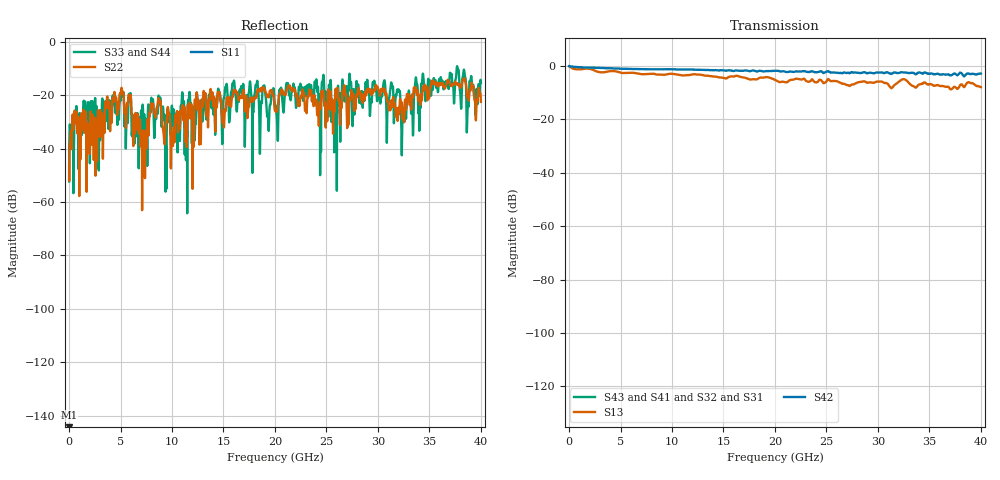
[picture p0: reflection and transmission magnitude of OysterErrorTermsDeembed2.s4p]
! File created by SignalIntegrity v1.1.1: Signal and Power Integrity Tools
! https://github.com/TeledyneLeCroy/SignalIntegrity
# MHz MA S R 50.0
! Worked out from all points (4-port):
!   8000 points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, 5 MHz to 40 GHz, reference 50 ohm
!   strongest paths, dB at 5 MHz, 10.01 GHz, 20 GHz, 30 GHz, 40 GHz:
!     S42: -0.1, -1.2, -1.8, -2.5, -2.9
!     S13: -0.1, -2.9, -5.2, -5.8, -7.9
!     S43: -, -, -, -, -
!     S41: -, -, -, -, -
!     S32: -, -, -, -, -
!     S31: -, -, -, -, -
!   lowest |S11| = - dB at 5 MHz (marker M1), VSWR 1.00, Z = 50 + j0 ohm
!   |S11| at or under -10 dB: start of sweep to end of sweep
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5  0 0.0  0 0.0  0.9866 -8.6  0 0.0
   0 0.0  0.004879 12.2  0 0.0  0.9902 -8.4
   0 0.0  0 0.0  0.002422 137.5  0 0.0
   0 0.0  0.9936 -5.4  0 0.0  0.002753 94.5
5095  0 0.0  0 0.0  0.7437 -151.6  0 0.0
      0 0.0  0.1373 10.9  0 0.0  0.7437 -151.6
      0 0.0  0 0.0  0.1281 -57.2  0 0.0
      0 0.0  0.8851 -89.8  0 0.0  0.1281 -57.2
7235  0 0.0  0 0.0  0.7027 -87.5  0 0.0
      0 0.0  0.01396 55.0  0 0.0  0.7027 -87.5
      0 0.0  0 0.0  0.0183 -2.5  0 0.0
      0 0.0  0.8756 126.4  0 0.0  0.0183 -2.5
8735  0 0.0  0 0.0  0.6895 -46.9  0 0.0
      0 0.0  0.07988 78.1  0 0.0  0.6895 -46.9
      0 0.0  0 0.0  0.08418 28.1  0 0.0
      0 0.0  0.864 -48.4  0 0.0  0.08418 28.1
10050  0 0.0  0 0.0  0.7137 -61.0  0 0.0
       0 0.0  0.01557 98.6  0 0.0  0.7137 -61.0
       0 0.0  0 0.0  0.03906 -47.5  0 0.0
       0 0.0  0.8679 -24.6  0 0.0  0.03906 -47.5
16155  0 0.0  0 0.0  0.6521 -74.7  0 0.0
       0 0.0  0.1237 123.4  0 0.0  0.6521 -74.7
       0 0.0  0 0.0  0.1073 -169.4  0 0.0
       0 0.0  0.8212 -119.5  0 0.0  0.1073 -169.4
40000  0 0.0  0 0.0  0.4007 69.7  0 0.0
       0 0.0  0.07486 -101.4  0 0.0  0.4007 69.7
       0 0.0  0 0.0  0.1691 119.2  0 0.0
       0 0.0  0.7201 83.3  0 0.0  0.1691 119.2
